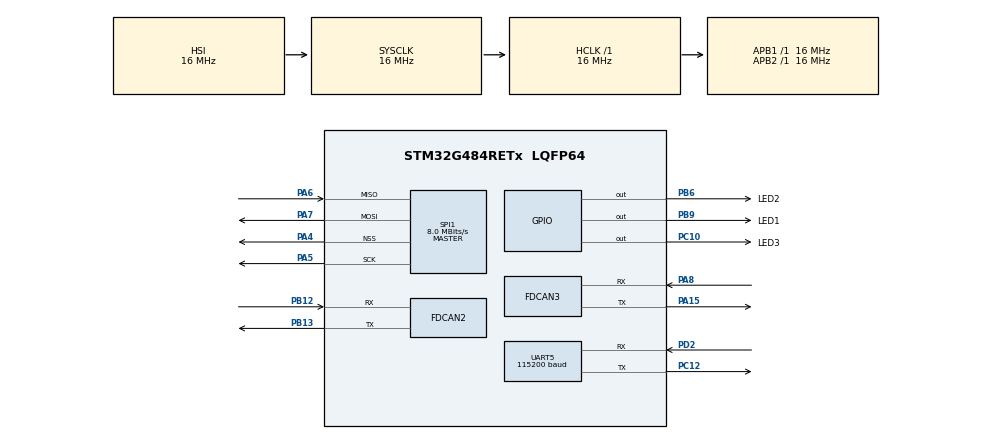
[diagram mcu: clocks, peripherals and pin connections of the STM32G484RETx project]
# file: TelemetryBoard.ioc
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FDCAN2.AutoRetransmission=ENABLE
FDCAN2.CalculateBaudRateNominal=1066666
FDCAN2.CalculateTimeBitNominal=937
FDCAN2.CalculateTimeQuantumNominal=62.5
FDCAN2.NominalPrescaler=1
FDCAN2.NominalTimeSeg1=13
FDCAN2.StdFiltersNbr=28
FDCAN3.AutoRetransmission=ENABLE
FDCAN3.CalculateBaudRateNominal=1066666
FDCAN3.CalculateTimeBitNominal=937
FDCAN3.CalculateTimeQuantumNominal=62.5
FDCAN3.NominalPrescaler=1
FDCAN3.NominalTimeSeg1=13
FDCAN3.StdFiltersNbr=28
Mcu.Family=STM32G4
Mcu.Name=STM32G484RETx
Mcu.Package=LQFP64
NVIC.FDCAN2_IT0_IRQn=true\:0\:0\:false\:false\:true\:true\:true\:true
NVIC.FDCAN3_IT0_IRQn=true\:0\:0\:false\:false\:true\:true\:true\:true
NVIC.PriorityGroup=NVIC_PRIORITYGROUP_4
NVIC.UART5_IRQn=true\:0\:0\:false\:false\:true\:true\:true\:true
PA13.Mode=Serial_Wire
PA13.Signal=SYS_JTMS-SWDIO
PA14.Mode=Serial_Wire
PA14.Signal=SYS_JTCK-SWCLK
PA15.Mode=FDCAN_Activate
PA15.Signal=FDCAN3_TX
PA4.Mode=NSS_Signal_Hard_Output
PA4.Signal=SPI1_NSS
PA5.Mode=Full_Duplex_Master
PA5.Signal=SPI1_SCK
PA6.Mode=Full_Duplex_Master
PA6.Signal=SPI1_MISO
PA7.Mode=Full_Duplex_Master
PA7.Signal=SPI1_MOSI
PA8.Mode=FDCAN_Activate
PA8.Signal=FDCAN3_RX
PB12.Mode=FDCAN_Activate
PB12.Signal=FDCAN2_RX
PB13.Mode=FDCAN_Activate
PB13.Signal=FDCAN2_TX
PB6.GPIO_Label=LED2
PB6.Signal=GPIO_Output
PB9.GPIO_Label=LED1
PB9.Signal=GPIO_Output
PC10.GPIO_Label=LED3
PC10.Signal=GPIO_Output
PC12.Mode=Asynchronous
PC12.Signal=UART5_TX
PD2.Mode=Asynchronous
PD2.Signal=UART5_RX
ProjectManager.HeapSize=0x200
ProjectManager.StackSize=0x400
ProjectManager.TargetToolchain=STM32CubeIDE
RCC.AHBFreq_Value=16000000
RCC.APB1Freq_Value=16000000
RCC.APB1TimFreq_Value=16000000
RCC.APB2Freq_Value=16000000
RCC.APB2TimFreq_Value=16000000
RCC.CortexFreq_Value=16000000
RCC.EXTERNAL_CLOCK_VALUE=12288000
RCC.HCLKFreq_Value=16000000
RCC.HSE_VALUE=8000000
RCC.HSI48_VALUE=48000000
RCC.HSI_VALUE=16000000
RCC.LSE_VALUE=32768
RCC.SYSCLKFreq_VALUE=16000000
RCC.USBFreq_Value=64000000
RCC.VCOOutputFreq_Value=128000000
SPI1.CalculateBaudRate=8.0 MBits/s
SPI1.DataSize=SPI_DATASIZE_8BIT
SPI1.Direction=SPI_DIRECTION_2LINES
SPI1.Mode=SPI_MODE_MASTER
SPI1.VirtualNSS=VM_NSSHARD
SPI1.VirtualType=VM_MASTER
UART5.BaudRate=115200
VP_SYS_VS_DBSignals.Mode=DisableDeadBatterySignals
board=custom

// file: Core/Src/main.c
/* USER CODE BEGIN Header */
/**
  ******************************************************************************
  * @file           : main.c
  * @brief          : Main program body
  ******************************************************************************
  * @attention
  *
  * Copyright (c) 2025 STMicroelectronics.
  * All rights reserved.
  *
  * This software is licensed under terms that can be found in the LICENSE file
  * in the root directory of this software component.
  * If no LICENSE file comes with this software, it is provided AS-IS.
  *
  ******************************************************************************
  */
/* USER CODE END Header */
#include "main.h"

/* USER CODE BEGIN Includes */
#include "xbee.h"
/* USER CODE END Includes */

FDCAN_HandleTypeDef hfdcan2;
FDCAN_HandleTypeDef hfdcan3;

SPI_HandleTypeDef hspi1;

UART_HandleTypeDef huart5;

/* USER CODE BEGIN PV */
FDCAN_TxHeaderTypeDef TxHeader;

FDCAN_RxHeaderTypeDef RxHeader;

extern sFlags FLAG;

/* USER CODE END PV */

void SystemClock_Config(void);
static void MX_GPIO_Init(void);
static void MX_FDCAN2_Init(void);
static void MX_FDCAN3_Init(void);
static void MX_SPI1_Init(void);
static void MX_UART5_Init(void);

int main(void)
{

  /* USER CODE BEGIN 1 */
	FLAG.connected_net = false;
	FLAG.connected_mqtt = false;
	FLAG.waiting_ping_resp = false;
	FLAG.transmit_ready = false;
	FLAG.xbee_fr = false;
	FLAG.at_ok = false;
  /* USER CODE END 1 */

  /* MCU Configuration--------------------------------------------------------*/

  /* Reset of all peripherals, Initializes the Flash interface and the Systick. */
  HAL_Init();

  /* Configure the system clock */
  SystemClock_Config();

  /* Initialize all configured peripherals */
  MX_GPIO_Init();
  MX_FDCAN2_Init();
  MX_FDCAN3_Init();
  MX_SPI1_Init();
  MX_UART5_Init();
  /* USER CODE BEGIN 2 */
  HAL_UARTEx_ReceiveToIdle_IT(&huart5, uart_rx, sizeof(uart_rx));
  /* USER CODE END 2 */

  /* Infinite loop */
  while (1)
  {
//	  char plusCmd[] = "+++";
//	  HAL_Delay(1100);
//	  HAL_UART_Transmit_IT(&huart5, (uint8_t*)plusCmd, strlen(plusCmd));
//	  HAL_Delay(1100);
	  //CheckInternet();
	  //Send_MQTT();
	  //Send_ATVR_API();
//	  while (!FLAG.connected_net){
//		  CheckInternet();
//	  }
	  while (!FLAG.connected_mqtt){
		  MQTT_Connect();
	  }
	  while (FLAG.transmit_ready){
		  CanFrame example_frame = {
		      .id  = 0x100,
		      .dlc = 8,
		      .data = { 0x22, 0x60, 0x50, 0x4B, 0x82, 0x00, 0x00, 0x00 }
		  };
		  uint8_t tx_buf[128];

		  int len = build_mqtt_publish_from_can_raw(
		      &example_frame,
		      "xbee/can",   // topic
		      tx_buf,
		      sizeof(tx_buf)
		  );
		  UART_Send(tx_buf, len);
		  //MQTT_Publish();
		  HAL_Delay(1000);
	  }

  }
}

void SystemClock_Config(void)
{
  RCC_OscInitTypeDef RCC_OscInitStruct = {0};
  RCC_ClkInitTypeDef RCC_ClkInitStruct = {0};

  /** Configure the main internal regulator output voltage
  */
  HAL_PWREx_ControlVoltageScaling(PWR_REGULATOR_VOLTAGE_SCALE1);

  /** Initializes the RCC Oscillators according to the specified parameters
  * in the RCC_OscInitTypeDef structure.
  */
  RCC_OscInitStruct.OscillatorType = RCC_OSCILLATORTYPE_HSI;
  RCC_OscInitStruct.HSIState = RCC_HSI_ON;
  RCC_OscInitStruct.HSICalibrationValue = RCC_HSICALIBRATION_DEFAULT;
  RCC_OscInitStruct.PLL.PLLState = RCC_PLL_NONE;
  if (HAL_RCC_OscConfig(&RCC_OscInitStruct) != HAL_OK)
  {
    Error_Handler();
  }

  /** Initializes the CPU, AHB and APB buses clocks
  */
  RCC_ClkInitStruct.ClockType = RCC_CLOCKTYPE_HCLK|RCC_CLOCKTYPE_SYSCLK
                              |RCC_CLOCKTYPE_PCLK1|RCC_CLOCKTYPE_PCLK2;
  RCC_ClkInitStruct.SYSCLKSource = RCC_SYSCLKSOURCE_HSI;
  RCC_ClkInitStruct.AHBCLKDivider = RCC_SYSCLK_DIV1;
  RCC_ClkInitStruct.APB1CLKDivider = RCC_HCLK_DIV1;
  RCC_ClkInitStruct.APB2CLKDivider = RCC_HCLK_DIV1;

  if (HAL_RCC_ClockConfig(&RCC_ClkInitStruct, FLASH_LATENCY_0) != HAL_OK)
  {
    Error_Handler();
  }
}

static void MX_FDCAN2_Init(void)
{

  hfdcan2.Instance = FDCAN2;
  hfdcan2.Init.ClockDivider = FDCAN_CLOCK_DIV1;
  hfdcan2.Init.FrameFormat = FDCAN_FRAME_CLASSIC;
  hfdcan2.Init.Mode = FDCAN_MODE_NORMAL;
  hfdcan2.Init.AutoRetransmission = ENABLE;
  hfdcan2.Init.TransmitPause = DISABLE;
  hfdcan2.Init.ProtocolException = DISABLE;
  hfdcan2.Init.NominalPrescaler = 1;
  hfdcan2.Init.NominalSyncJumpWidth = 1;
  hfdcan2.Init.NominalTimeSeg1 = 13;
  hfdcan2.Init.NominalTimeSeg2 = 1;
  hfdcan2.Init.DataPrescaler = 1;
  hfdcan2.Init.DataSyncJumpWidth = 1;
  hfdcan2.Init.DataTimeSeg1 = 1;
  hfdcan2.Init.DataTimeSeg2 = 1;
  hfdcan2.Init.StdFiltersNbr = 28;
  hfdcan2.Init.ExtFiltersNbr = 0;
  hfdcan2.Init.TxFifoQueueMode = FDCAN_TX_FIFO_OPERATION;
  if (HAL_FDCAN_Init(&hfdcan2) != HAL_OK)
  {
    Error_Handler();
  }
  /* USER CODE BEGIN FDCAN2_Init 2 */
  if (HAL_FDCAN_ConfigRxFifoOverwrite(&hfdcan2, FDCAN_RX_FIFO0, FDCAN_RX_FIFO_OVERWRITE) != HAL_OK)
    {
      Error_Handler();
    }
  if (HAL_FDCAN_ConfigRxFifoOverwrite(&hfdcan2, FDCAN_RX_FIFO1, FDCAN_RX_FIFO_OVERWRITE) != HAL_OK)
    {
      Error_Handler();
    }

  if(HAL_FDCAN_Start(&hfdcan2) != HAL_OK)
    {
      Error_Handler();
    }
  if(HAL_FDCAN_ActivateNotification(&hfdcan2, FDCAN_IT_RX_FIFO0_NEW_MESSAGE, 0) != HAL_OK)
    {
      Error_Handler();
    }

  TxHeader.Identifier = 0x123; // Modify this with your identifier
  TxHeader.IdType = FDCAN_STANDARD_ID;
  TxHeader.TxFrameType = FDCAN_DATA_FRAME;
  TxHeader.DataLength = FDCAN_DLC_BYTES_8;
  TxHeader.ErrorStateIndicator = FDCAN_ESI_ACTIVE;
  TxHeader.BitRateSwitch = FDCAN_BRS_OFF;
  TxHeader.FDFormat = FDCAN_CLASSIC_CAN;
  TxHeader.TxEventFifoControl = FDCAN_NO_TX_EVENTS;
  TxHeader.MessageMarker = 0;
  /* USER CODE END FDCAN2_Init 2 */

}

static void MX_FDCAN3_Init(void)
{

  hfdcan3.Instance = FDCAN3;
  hfdcan3.Init.ClockDivider = FDCAN_CLOCK_DIV1;
  hfdcan3.Init.FrameFormat = FDCAN_FRAME_CLASSIC;
  hfdcan3.Init.Mode = FDCAN_MODE_NORMAL;
  hfdcan3.Init.AutoRetransmission = ENABLE;
  hfdcan3.Init.TransmitPause = DISABLE;
  hfdcan3.Init.ProtocolException = DISABLE;
  hfdcan3.Init.NominalPrescaler = 1;
  hfdcan3.Init.NominalSyncJumpWidth = 1;
  hfdcan3.Init.NominalTimeSeg1 = 13;
  hfdcan3.Init.NominalTimeSeg2 = 1;
  hfdcan3.Init.DataPrescaler = 1;
  hfdcan3.Init.DataSyncJumpWidth = 1;
  hfdcan3.Init.DataTimeSeg1 = 1;
  hfdcan3.Init.DataTimeSeg2 = 1;
  hfdcan3.Init.StdFiltersNbr = 28;
  hfdcan3.Init.ExtFiltersNbr = 0;
  hfdcan3.Init.TxFifoQueueMode = FDCAN_TX_FIFO_OPERATION;
  if (HAL_FDCAN_Init(&hfdcan3) != HAL_OK)
  {
    Error_Handler();
  }
  /* USER CODE BEGIN FDCAN3_Init 2 */
  if (HAL_FDCAN_ConfigRxFifoOverwrite(&hfdcan3, FDCAN_RX_FIFO0, FDCAN_RX_FIFO_OVERWRITE) != HAL_OK)
    {
      Error_Handler();
    }
  if (HAL_FDCAN_ConfigRxFifoOverwrite(&hfdcan3, FDCAN_RX_FIFO1, FDCAN_RX_FIFO_OVERWRITE) != HAL_OK)
    {
      Error_Handler();
    }

  if(HAL_FDCAN_Start(&hfdcan3) != HAL_OK)
    {
      Error_Handler();
    }
  if(HAL_FDCAN_ActivateNotification(&hfdcan3, FDCAN_IT_RX_FIFO0_NEW_MESSAGE, 0) != HAL_OK)
    {
      Error_Handler();
    }
  /* USER CODE END FDCAN3_Init 2 */

}

static void MX_SPI1_Init(void)
{

  /* SPI1 parameter configuration*/
  hspi1.Instance = SPI1;
  hspi1.Init.Mode = SPI_MODE_MASTER;
  hspi1.Init.Direction = SPI_DIRECTION_2LINES;
  hspi1.Init.DataSize = SPI_DATASIZE_8BIT;
  hspi1.Init.CLKPolarity = SPI_POLARITY_LOW;
  hspi1.Init.CLKPhase = SPI_PHASE_1EDGE;
  hspi1.Init.NSS = SPI_NSS_HARD_OUTPUT;
  hspi1.Init.BaudRatePrescaler = SPI_BAUDRATEPRESCALER_2;
  hspi1.Init.FirstBit = SPI_FIRSTBIT_MSB;
  hspi1.Init.TIMode = SPI_TIMODE_DISABLE;
  hspi1.Init.CRCCalculation = SPI_CRCCALCULATION_DISABLE;
  hspi1.Init.CRCPolynomial = 7;
  hspi1.Init.CRCLength = SPI_CRC_LENGTH_DATASIZE;
  hspi1.Init.NSSPMode = SPI_NSS_PULSE_ENABLE;
  if (HAL_SPI_Init(&hspi1) != HAL_OK)
  {
    Error_Handler();
  }

}

static void MX_UART5_Init(void)
{

  huart5.Instance = UART5;
  huart5.Init.BaudRate = 115200;
  huart5.Init.WordLength = UART_WORDLENGTH_8B;
  huart5.Init.StopBits = UART_STOPBITS_1;
  huart5.Init.Parity = UART_PARITY_NONE;
  huart5.Init.Mode = UART_MODE_TX_RX;
  huart5.Init.HwFlowCtl = UART_HWCONTROL_NONE;
  huart5.Init.OverSampling = UART_OVERSAMPLING_16;
  huart5.Init.OneBitSampling = UART_ONE_BIT_SAMPLE_DISABLE;
  huart5.Init.ClockPrescaler = UART_PRESCALER_DIV1;
  huart5.AdvancedInit.AdvFeatureInit = UART_ADVFEATURE_NO_INIT;
  if (HAL_UART_Init(&huart5) != HAL_OK)
  {
    Error_Handler();
  }
  if (HAL_UARTEx_SetTxFifoThreshold(&huart5, UART_TXFIFO_THRESHOLD_1_8) != HAL_OK)
  {
    Error_Handler();
  }
  if (HAL_UARTEx_SetRxFifoThreshold(&huart5, UART_RXFIFO_THRESHOLD_1_8) != HAL_OK)
  {
    Error_Handler();
  }
  if (HAL_UARTEx_DisableFifoMode(&huart5) != HAL_OK)
  {
    Error_Handler();
  }

}

static void MX_GPIO_Init(void)
{
  GPIO_InitTypeDef GPIO_InitStruct = {0};

  /* GPIO Ports Clock Enable */
  __HAL_RCC_GPIOA_CLK_ENABLE();
  __HAL_RCC_GPIOB_CLK_ENABLE();
  __HAL_RCC_GPIOC_CLK_ENABLE();
  __HAL_RCC_GPIOD_CLK_ENABLE();

  /*Configure GPIO pin Output Level */
  HAL_GPIO_WritePin(LED3_GPIO_Port, LED3_Pin, GPIO_PIN_RESET);

  /*Configure GPIO pin Output Level */
  HAL_GPIO_WritePin(GPIOB, LED2_Pin|LED1_Pin, GPIO_PIN_RESET);

  /*Configure GPIO pin : LED3_Pin */
  GPIO_InitStruct.Pin = LED3_Pin;
  GPIO_InitStruct.Mode = GPIO_MODE_OUTPUT_PP;
  GPIO_InitStruct.Pull = GPIO_NOPULL;
  GPIO_InitStruct.Speed = GPIO_SPEED_FREQ_LOW;
  HAL_GPIO_Init(LED3_GPIO_Port, &GPIO_InitStruct);

  /*Configure GPIO pins : LED2_Pin LED1_Pin */
  GPIO_InitStruct.Pin = LED2_Pin|LED1_Pin;
  GPIO_InitStruct.Mode = GPIO_MODE_OUTPUT_PP;
  GPIO_InitStruct.Pull = GPIO_NOPULL;
  GPIO_InitStruct.Speed = GPIO_SPEED_FREQ_LOW;
  HAL_GPIO_Init(GPIOB, &GPIO_InitStruct);

}

void Error_Handler(void)
{
  __disable_irq();
  while (1)
  {
  }
}
